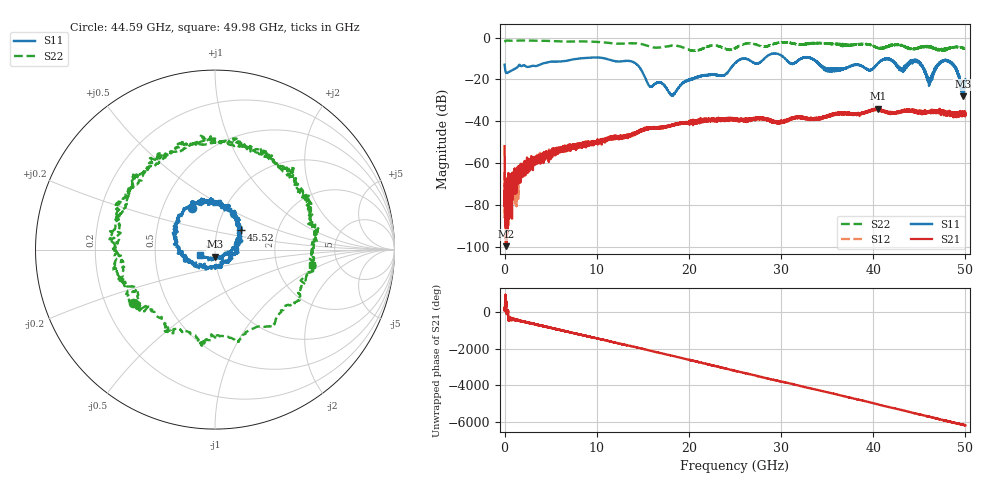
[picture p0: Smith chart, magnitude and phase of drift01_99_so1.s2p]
!Created with skrf (http://scikit-rf.org).
# Hz S RI R 50.0
!freq ReS11 ImS11 ReS21 ImS21 ReS12 ImS12 ReS22 ImS22
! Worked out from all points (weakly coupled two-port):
!   10001 points, 300 kHz to 50 GHz, reference 50 ohm
!   highest |S21| = -34.03 dB at 40.56 GHz (marker M1); lowest = -99.8 dB at 190.3 MHz (marker M2)
!   lowest |S11| = -28.0 dB at 49.72 GHz (marker M3), VSWR 1.08, Z = 49.9 - j3.96 ohm
!   |S11| at or under -10 dB: start of sweep to 8.083 GHz; 10.91 GHz to 26 GHz (15.09 GHz wide, 81.8 % of centre); 41.76 GHz to end of sweep (the widest 3 of 18)
!   |S22| runs from -6.5 to -1.4 dB; largest |S21 - S12| = 0.0039
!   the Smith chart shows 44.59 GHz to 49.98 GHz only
!   S11 on the Smith chart (normalised r, x): 44.59 GHz: 0.70, +0.35; 45.52 GHz: 1.30, +0.29; 49.98 GHz: 0.85, -0.05
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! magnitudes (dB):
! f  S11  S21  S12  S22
! 300 kHz  -12.9  -51.9  -64.3  -2.1
! 190.3 MHz  -16.9  -99.8  -75.5  -1.4
! 3.015 GHz  -13.5  -58.5  -60.2  -1.4
! 8.335 GHz  -9.9  -51.3  -51.7  -1.8
! 13.8 GHz  -11.4  -46.1  -46.2  -2.7
! 15.75 GHz  -23.3  -42.9  -43.3  -4.2
! 16.67 GHz  -21.3  -43.0  -43.0  -4.8
! 18.22 GHz  -27.4  -42.0  -41.9  -3.9
! 25 GHz  -12.2  -39.2  -39.0  -5.1
! 29.24 GHz  -7.6  -40.1  -40.1  -2.9
! 33.34 GHz  -10.0  -38.9  -39.1  -2.7
! 35.25 GHz  -15.2  -37.4  -37.7  -2.9
! 40.56 GHz  -12.0  -34.0  -34.4  -5.1
! 41.67 GHz  -10.3  -36.2  -35.9  -4.1
! 43.07 GHz  -15.1  -34.8  -35.0  -3.5
! 44.59 GHz  -11.5  -34.9  -35.2  -5.2
! 45.52 GHz  -14.8  -35.4  -35.7  -4.6
! 46.14 GHz  -20.1  -35.4  -35.6  -4.3
! 48.21 GHz  -11.5  -35.6  -36.6  -4.9
! 49.72 GHz  -28.0  -37.0  -36.6  -5.1
! 49.98 GHz  -21.1  -36.6  -36.6  -5.3
! 50 GHz  -21.2  -36.5  -36.3  -5.3
